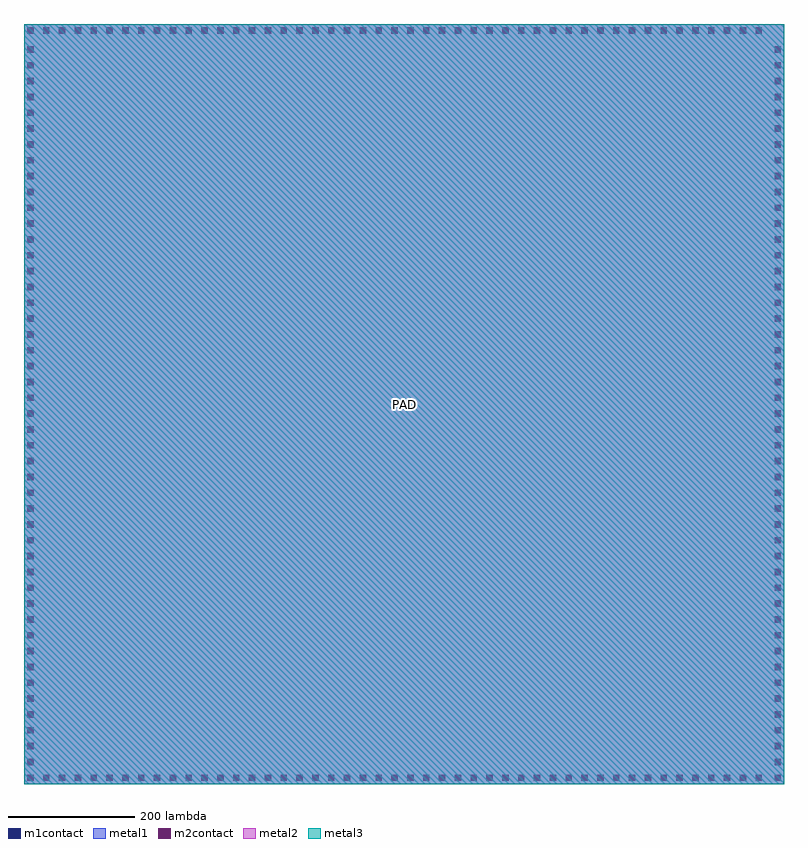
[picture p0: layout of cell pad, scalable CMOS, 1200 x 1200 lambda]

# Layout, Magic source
magic
tech scmos
<< metal1 >>
rect 10 10 1210 1210
<< metal2 >>
rect 10 10 1210 1210
<< metal3 >>
rect 10 10 1210 1210
<< m1contact >>
rect 15 15 25 25
rect 15 1195 25 1205
<< m2contact >>
rect 15 15 25 25
rect 15 1195 25 1205
<< m1contact >>
rect 40 15 50 25
rect 40 1195 50 1205
<< m2contact >>
rect 40 15 50 25
rect 40 1195 50 1205
<< m1contact >>
rect 65 15 75 25
rect 65 1195 75 1205
<< m2contact >>
rect 65 15 75 25
rect 65 1195 75 1205
<< m1contact >>
rect 90 15 100 25
rect 90 1195 100 1205
<< m2contact >>
rect 90 15 100 25
rect 90 1195 100 1205
<< m1contact >>
rect 115 15 125 25
rect 115 1195 125 1205
<< m2contact >>
rect 115 15 125 25
rect 115 1195 125 1205
<< m1contact >>
rect 140 15 150 25
rect 140 1195 150 1205
<< m2contact >>
rect 140 15 150 25
rect 140 1195 150 1205
<< m1contact >>
rect 165 15 175 25
rect 165 1195 175 1205
<< m2contact >>
rect 165 15 175 25
rect 165 1195 175 1205
<< m1contact >>
rect 190 15 200 25
rect 190 1195 200 1205
<< m2contact >>
rect 190 15 200 25
rect 190 1195 200 1205
<< m1contact >>
rect 215 15 225 25
rect 215 1195 225 1205
<< m2contact >>
rect 215 15 225 25
rect 215 1195 225 1205
<< m1contact >>
rect 240 15 250 25
rect 240 1195 250 1205
<< m2contact >>
rect 240 15 250 25
rect 240 1195 250 1205
<< m1contact >>
rect 265 15 275 25
rect 265 1195 275 1205
<< m2contact >>
rect 265 15 275 25
rect 265 1195 275 1205
<< m1contact >>
rect 290 15 300 25
rect 290 1195 300 1205
<< m2contact >>
rect 290 15 300 25
rect 290 1195 300 1205
<< m1contact >>
rect 315 15 325 25
rect 315 1195 325 1205
<< m2contact >>
rect 315 15 325 25
rect 315 1195 325 1205
<< m1contact >>
rect 340 15 350 25
rect 340 1195 350 1205
<< m2contact >>
rect 340 15 350 25
rect 340 1195 350 1205
<< m1contact >>
rect 365 15 375 25
rect 365 1195 375 1205
<< m2contact >>
rect 365 15 375 25
rect 365 1195 375 1205
<< m1contact >>
rect 390 15 400 25
rect 390 1195 400 1205
<< m2contact >>
rect 390 15 400 25
rect 390 1195 400 1205
<< m1contact >>
rect 415 15 425 25
rect 415 1195 425 1205
<< m2contact >>
rect 415 15 425 25
rect 415 1195 425 1205
<< m1contact >>
rect 440 15 450 25
rect 440 1195 450 1205
<< m2contact >>
rect 440 15 450 25
rect 440 1195 450 1205
<< m1contact >>
rect 465 15 475 25
rect 465 1195 475 1205
<< m2contact >>
rect 465 15 475 25
rect 465 1195 475 1205
<< m1contact >>
rect 490 15 500 25
rect 490 1195 500 1205
<< m2contact >>
rect 490 15 500 25
rect 490 1195 500 1205
<< m1contact >>
rect 515 15 525 25
rect 515 1195 525 1205
<< m2contact >>
rect 515 15 525 25
rect 515 1195 525 1205
<< m1contact >>
rect 540 15 550 25
rect 540 1195 550 1205
<< m2contact >>
rect 540 15 550 25
rect 540 1195 550 1205
<< m1contact >>
rect 565 15 575 25
rect 565 1195 575 1205
<< m2contact >>
rect 565 15 575 25
rect 565 1195 575 1205
<< m1contact >>
rect 590 15 600 25
rect 590 1195 600 1205
<< m2contact >>
rect 590 15 600 25
rect 590 1195 600 1205
<< m1contact >>
rect 615 15 625 25
rect 615 1195 625 1205
<< m2contact >>
rect 615 15 625 25
rect 615 1195 625 1205
<< m1contact >>
rect 640 15 650 25
rect 640 1195 650 1205
<< m2contact >>
rect 640 15 650 25
rect 640 1195 650 1205
<< m1contact >>
rect 665 15 675 25
rect 665 1195 675 1205
<< m2contact >>
rect 665 15 675 25
rect 665 1195 675 1205
<< m1contact >>
rect 690 15 700 25
rect 690 1195 700 1205
<< m2contact >>
rect 690 15 700 25
rect 690 1195 700 1205
<< m1contact >>
rect 715 15 725 25
rect 715 1195 725 1205
<< m2contact >>
rect 715 15 725 25
rect 715 1195 725 1205
<< m1contact >>
rect 740 15 750 25
rect 740 1195 750 1205
<< m2contact >>
rect 740 15 750 25
rect 740 1195 750 1205
<< m1contact >>
rect 765 15 775 25
rect 765 1195 775 1205
<< m2contact >>
rect 765 15 775 25
rect 765 1195 775 1205
<< m1contact >>
rect 790 15 800 25
rect 790 1195 800 1205
<< m2contact >>
rect 790 15 800 25
rect 790 1195 800 1205
<< m1contact >>
rect 815 15 825 25
rect 815 1195 825 1205
<< m2contact >>
rect 815 15 825 25
rect 815 1195 825 1205
<< m1contact >>
rect 840 15 850 25
rect 840 1195 850 1205
<< m2contact >>
rect 840 15 850 25
rect 840 1195 850 1205
<< m1contact >>
rect 865 15 875 25
rect 865 1195 875 1205
<< m2contact >>
rect 865 15 875 25
rect 865 1195 875 1205
<< m1contact >>
rect 890 15 900 25
rect 890 1195 900 1205
<< m2contact >>
rect 890 15 900 25
rect 890 1195 900 1205
<< m1contact >>
rect 915 15 925 25
rect 915 1195 925 1205
<< m2contact >>
rect 915 15 925 25
rect 915 1195 925 1205
<< m1contact >>
rect 940 15 950 25
rect 940 1195 950 1205
<< m2contact >>
rect 940 15 950 25
rect 940 1195 950 1205
<< m1contact >>
rect 965 15 975 25
rect 965 1195 975 1205
<< m2contact >>
rect 965 15 975 25
rect 965 1195 975 1205
<< m1contact >>
rect 990 15 1000 25
rect 990 1195 1000 1205
<< m2contact >>
rect 990 15 1000 25
rect 990 1195 1000 1205
<< m1contact >>
rect 1015 15 1025 25
rect 1015 1195 1025 1205
<< m2contact >>
rect 1015 15 1025 25
rect 1015 1195 1025 1205
<< m1contact >>
rect 1040 15 1050 25
rect 1040 1195 1050 1205
<< m2contact >>
rect 1040 15 1050 25
rect 1040 1195 1050 1205
<< m1contact >>
rect 1065 15 1075 25
rect 1065 1195 1075 1205
<< m2contact >>
rect 1065 15 1075 25
rect 1065 1195 1075 1205
<< m1contact >>
rect 1090 15 1100 25
rect 1090 1195 1100 1205
<< m2contact >>
rect 1090 15 1100 25
rect 1090 1195 1100 1205
<< m1contact >>
rect 1115 15 1125 25
rect 1115 1195 1125 1205
<< m2contact >>
rect 1115 15 1125 25
rect 1115 1195 1125 1205
<< m1contact >>
rect 1140 15 1150 25
rect 1140 1195 1150 1205
<< m2contact >>
rect 1140 15 1150 25
rect 1140 1195 1150 1205
<< m1contact >>
rect 1165 15 1175 25
rect 1165 1195 1175 1205
<< m2contact >>
rect 1165 15 1175 25
rect 1165 1195 1175 1205
<< m1contact >>
rect 15 15 25 25
rect 1195 15 1205 25
<< m2contact >>
rect 15 15 25 25
rect 1195 15 1205 25
<< m1contact >>
rect 15 40 25 50
rect 1195 40 1205 50
<< m2contact >>
rect 15 40 25 50
rect 1195 40 1205 50
<< m1contact >>
rect 15 65 25 75
rect 1195 65 1205 75
<< m2contact >>
rect 15 65 25 75
rect 1195 65 1205 75
<< m1contact >>
rect 15 90 25 100
rect 1195 90 1205 100
<< m2contact >>
rect 15 90 25 100
rect 1195 90 1205 100
<< m1contact >>
rect 15 115 25 125
rect 1195 115 1205 125
<< m2contact >>
rect 15 115 25 125
rect 1195 115 1205 125
<< m1contact >>
rect 15 140 25 150
rect 1195 140 1205 150
<< m2contact >>
rect 15 140 25 150
rect 1195 140 1205 150
<< m1contact >>
rect 15 165 25 175
rect 1195 165 1205 175
<< m2contact >>
rect 15 165 25 175
rect 1195 165 1205 175
<< m1contact >>
rect 15 190 25 200
rect 1195 190 1205 200
<< m2contact >>
rect 15 190 25 200
rect 1195 190 1205 200
<< m1contact >>
rect 15 215 25 225
rect 1195 215 1205 225
<< m2contact >>
rect 15 215 25 225
rect 1195 215 1205 225
<< m1contact >>
rect 15 240 25 250
rect 1195 240 1205 250
<< m2contact >>
rect 15 240 25 250
rect 1195 240 1205 250
<< m1contact >>
rect 15 265 25 275
rect 1195 265 1205 275
<< m2contact >>
rect 15 265 25 275
rect 1195 265 1205 275
<< m1contact >>
rect 15 290 25 300
rect 1195 290 1205 300
<< m2contact >>
rect 15 290 25 300
rect 1195 290 1205 300
<< m1contact >>
rect 15 315 25 325
rect 1195 315 1205 325
<< m2contact >>
rect 15 315 25 325
rect 1195 315 1205 325
<< m1contact >>
rect 15 340 25 350
rect 1195 340 1205 350
<< m2contact >>
rect 15 340 25 350
rect 1195 340 1205 350
<< m1contact >>
rect 15 365 25 375
rect 1195 365 1205 375
<< m2contact >>
rect 15 365 25 375
rect 1195 365 1205 375
<< m1contact >>
rect 15 390 25 400
rect 1195 390 1205 400
<< m2contact >>
rect 15 390 25 400
rect 1195 390 1205 400
<< m1contact >>
rect 15 415 25 425
rect 1195 415 1205 425
<< m2contact >>
rect 15 415 25 425
rect 1195 415 1205 425
<< m1contact >>
rect 15 440 25 450
rect 1195 440 1205 450
<< m2contact >>
rect 15 440 25 450
rect 1195 440 1205 450
<< m1contact >>
rect 15 465 25 475
rect 1195 465 1205 475
<< m2contact >>
rect 15 465 25 475
rect 1195 465 1205 475
<< m1contact >>
rect 15 490 25 500
rect 1195 490 1205 500
<< m2contact >>
rect 15 490 25 500
rect 1195 490 1205 500
<< m1contact >>
rect 15 515 25 525
rect 1195 515 1205 525
<< m2contact >>
rect 15 515 25 525
rect 1195 515 1205 525
<< m1contact >>
rect 15 540 25 550
rect 1195 540 1205 550
<< m2contact >>
rect 15 540 25 550
rect 1195 540 1205 550
<< m1contact >>
rect 15 565 25 575
rect 1195 565 1205 575
<< m2contact >>
rect 15 565 25 575
rect 1195 565 1205 575
<< m1contact >>
rect 15 590 25 600
rect 1195 590 1205 600
<< m2contact >>
rect 15 590 25 600
rect 1195 590 1205 600
<< m1contact >>
rect 15 615 25 625
rect 1195 615 1205 625
<< m2contact >>
rect 15 615 25 625
rect 1195 615 1205 625
<< m1contact >>
rect 15 640 25 650
rect 1195 640 1205 650
<< m2contact >>
rect 15 640 25 650
rect 1195 640 1205 650
<< m1contact >>
rect 15 665 25 675
rect 1195 665 1205 675
<< m2contact >>
rect 15 665 25 675
rect 1195 665 1205 675
<< m1contact >>
rect 15 690 25 700
rect 1195 690 1205 700
<< m2contact >>
rect 15 690 25 700
rect 1195 690 1205 700
<< m1contact >>
rect 15 715 25 725
rect 1195 715 1205 725
<< m2contact >>
rect 15 715 25 725
rect 1195 715 1205 725
<< m1contact >>
rect 15 740 25 750
rect 1195 740 1205 750
<< m2contact >>
rect 15 740 25 750
rect 1195 740 1205 750
<< m1contact >>
rect 15 765 25 775
rect 1195 765 1205 775
<< m2contact >>
rect 15 765 25 775
rect 1195 765 1205 775
<< m1contact >>
rect 15 790 25 800
rect 1195 790 1205 800
<< m2contact >>
rect 15 790 25 800
rect 1195 790 1205 800
<< m1contact >>
rect 15 815 25 825
rect 1195 815 1205 825
<< m2contact >>
rect 15 815 25 825
rect 1195 815 1205 825
<< m1contact >>
rect 15 840 25 850
rect 1195 840 1205 850
<< m2contact >>
rect 15 840 25 850
rect 1195 840 1205 850
<< m1contact >>
rect 15 865 25 875
rect 1195 865 1205 875
<< m2contact >>
rect 15 865 25 875
rect 1195 865 1205 875
<< m1contact >>
rect 15 890 25 900
rect 1195 890 1205 900
<< m2contact >>
rect 15 890 25 900
rect 1195 890 1205 900
<< m1contact >>
rect 15 915 25 925
rect 1195 915 1205 925
<< m2contact >>
rect 15 915 25 925
rect 1195 915 1205 925
<< m1contact >>
rect 15 940 25 950
rect 1195 940 1205 950
<< m2contact >>
rect 15 940 25 950
rect 1195 940 1205 950
<< m1contact >>
rect 15 965 25 975
rect 1195 965 1205 975
<< m2contact >>
rect 15 965 25 975
rect 1195 965 1205 975
<< m1contact >>
rect 15 990 25 1000
rect 1195 990 1205 1000
<< m2contact >>
rect 15 990 25 1000
rect 1195 990 1205 1000
<< m1contact >>
rect 15 1015 25 1025
rect 1195 1015 1205 1025
<< m2contact >>
rect 15 1015 25 1025
rect 1195 1015 1205 1025
<< m1contact >>
rect 15 1040 25 1050
rect 1195 1040 1205 1050
<< m2contact >>
rect 15 1040 25 1050
rect 1195 1040 1205 1050
<< m1contact >>
rect 15 1065 25 1075
rect 1195 1065 1205 1075
<< m2contact >>
rect 15 1065 25 1075
rect 1195 1065 1205 1075
<< m1contact >>
rect 15 1090 25 1100
rect 1195 1090 1205 1100
<< m2contact >>
rect 15 1090 25 1100
rect 1195 1090 1205 1100
<< m1contact >>
rect 15 1115 25 1125
rect 1195 1115 1205 1125
<< m2contact >>
rect 15 1115 25 1125
rect 1195 1115 1205 1125
<< m1contact >>
rect 15 1140 25 1150
rect 1195 1140 1205 1150
<< m2contact >>
rect 15 1140 25 1150
rect 1195 1140 1205 1150
<< m1contact >>
rect 15 1165 25 1175
rect 1195 1165 1205 1175
<< m2contact >>
rect 15 1165 25 1175
rect 1195 1165 1205 1175
<< labels >>
rlabel metal3 610 610 610 610 1 PAD
<< end >>
